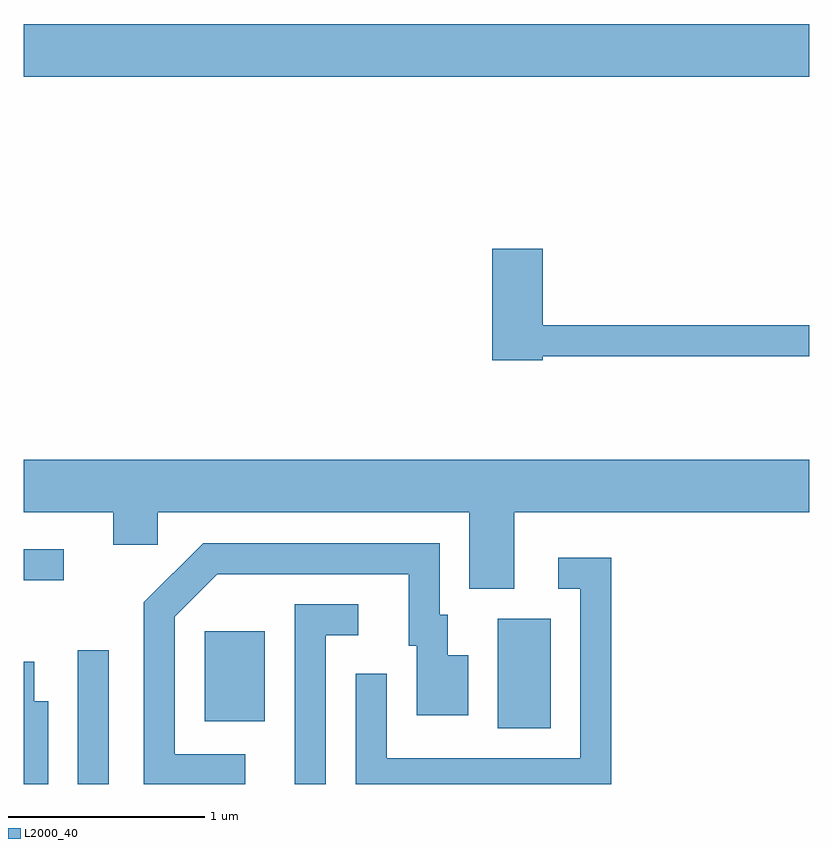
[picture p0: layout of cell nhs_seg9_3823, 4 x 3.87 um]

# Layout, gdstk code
import gdstk
lib = gdstk.Library(unit=1e-6, precision=1e-09)
def R(c, l, rs):  # rectangles x0, y0, x1, y1
    for r in rs: c.add(gdstk.rectangle(r[:2], r[2:], *l))
def P(c, l, *ps):  # polygons
    for p in ps: c.add(gdstk.Polygon(p, *l))
L2000_40 = (2000, 40)

nhs_seg9_3823 = lib.new_cell('nhs_seg9_3823')
R(nhs_seg9_3823, L2000_40, [(297.886,1990.432,298.044,1991.113), (300.026,1990.716,300.294,1991.274), (298.531,1990.751,298.839,1991.209), (297.611,1991.471,297.813,1991.629), (297.611,1994.036,301.611,1994.304)])
P(nhs_seg9_3823, L2000_40, [(300.254,1992.611),(301.611,1992.611),(301.611,1992.769),(300.254,1992.769),(300.254,1993.159),(299.996,1993.159),(299.996,1992.591),(300.254,1992.591)],
  [(300.109,1991.816),(301.611,1991.816),(301.611,1992.084),(297.611,1992.084),(297.611,1991.816),(298.066,1991.816),(298.066,1991.651),(298.294,1991.651),(298.294,1991.816),(299.881,1991.816),(299.881,1991.426),(300.109,1991.426)],
  [(298.738,1990.584),(298.379,1990.584),(298.379,1991.284),(298.597,1991.501),(299.571,1991.501),(299.571,1991.136),(299.611,1991.136),(299.611,1990.781),(299.874,1990.781),(299.874,1991.089),(299.769,1991.089),(299.769,1991.294),(299.729,1991.294),(299.729,1991.659),(298.524,1991.659),(298.221,1991.357),(298.221,1990.432),(298.738,1990.432)],
  [(300.604,1991.584),(300.333,1991.584),(300.333,1991.426),(300.446,1991.426),(300.446,1990.564),(299.459,1990.564),(299.459,1990.993),(299.301,1990.993),(299.301,1990.432),(300.604,1990.432)],
  [(299.149,1991.191),(299.313,1991.191),(299.313,1991.349),(298.991,1991.349),(298.991,1990.432),(299.149,1990.432)],
  [(297.734,1990.854),(297.664,1990.854),(297.664,1991.054),(297.611,1991.054),(297.611,1990.432),(297.734,1990.432)])

lib.write_gds('nhs_seg9_3823.gds')
